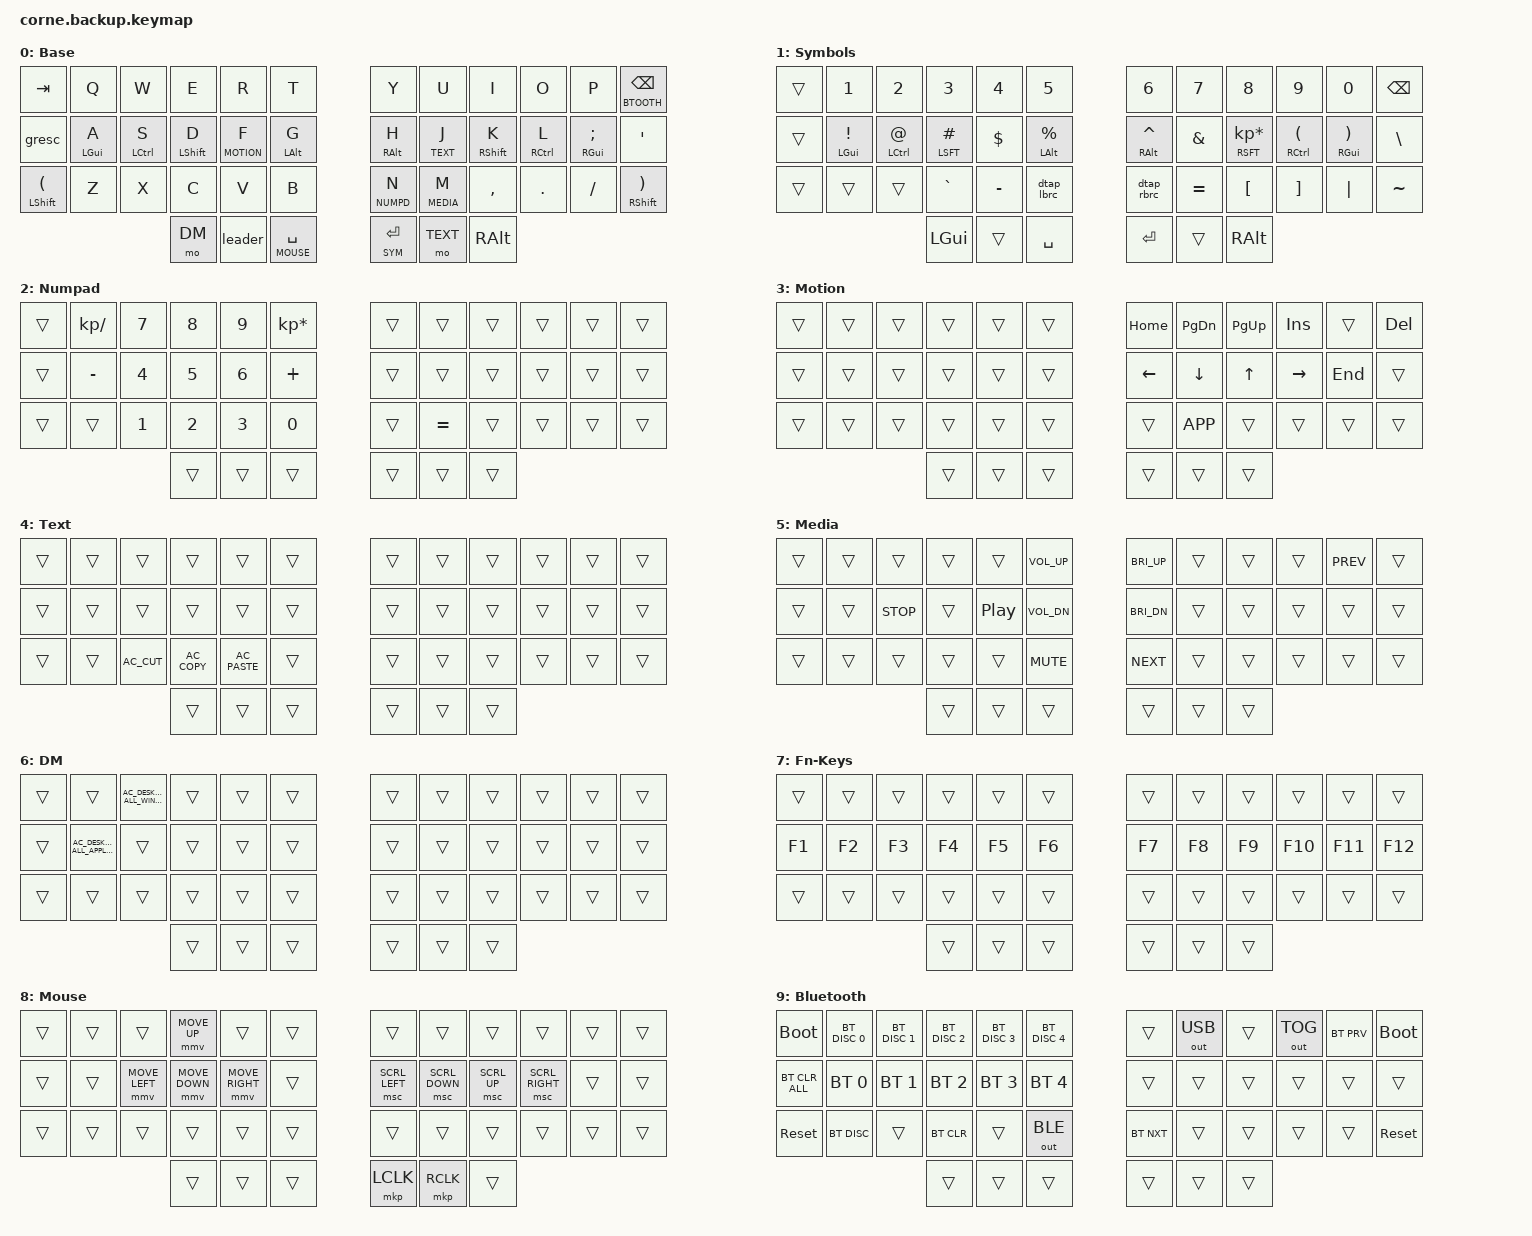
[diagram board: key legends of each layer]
/*
 * Copyright (c) 2020 The ZMK Contributors
 *
 * SPDX-License-Identifier: MIT
 */

#include <behaviors.dtsi>
#include <dt-bindings/zmk/bt.h>
#include <dt-bindings/zmk/keys.h>
#include <dt-bindings/zmk/pointing.h>
#include <dt-bindings/zmk/outputs.h>
#include <dt-bindings/zmk/ext_power.h>


// Layers
#define BASE 0
#define SYM 1
#define NUMPD 2 
#define MOTION 3
#define TEXT 4
#define MEDIA 5
#define DM 6
#define FKEYS 7
#define MOUSE 8
#define BTOOTH 9

&caps_word {
    /* mods = <(MOD_LSFT | MOD_RSFT)>; */
    /delete-property/ ignore-modifiers;
    continue-list = <UNDERSCORE MINUS DELETE BACKSPACE>;
};
&lt {
    flavor = "balanced";
    /* flavor = "tap-preferred"; */
    tapping-term-ms = <230>;
    quick-tap-ms = <25>;
    /* hold-trigger-on-release; */
};
&mt {
    flavor = "balanced";
    tapping-term-ms = <230>;
    quick-tap-ms = <25>;
    /* hold-trigger-on-release; */
};


/ {
    combos {
        compatible = "zmk,combos";
        combo_cw {
            timeout-ms = <65>;
            key-positions = <9 30>;
            bindings = <&caps_word>;
        };
    };
    behaviors {
      /* mt_cw: mt_caps_word { */
      /*   compatible = "zmk,behavior-hold-tap"; */
      /*   #binding-cells = <2>; */
      /*   bindings = <&kp>, <&kp>; */
      /*   flavor = "tap-preferred"; */
      /*   taping_term_ms = <230>; */
      /*   quick_tap_ms = <25>; */
      /* }; */

      leader: leader {
        compatible = "zmk,behavior-leader-key";
        #binding-cells = <0>;
        /* usb { sequence = <U S B>; bindings = <&out OUT_USB>; }; */
        /* ble { sequence = <B L E>; bindings = <&out OUT_BLE>; }; */
        base_layer { sequence = <L B B>; bindings = <&to BASE>; };
        fn_layer { sequence = <L F>; bindings = <&mo FKEYS>; };
        bluetooth_layer { sequence = <L B T>; bindings = <&mo BTOOTH>; };

      };
      ret2base: ret2base {
        compatible = "zmk,behavior-tap-dance";
        #binding-cells = <0>;
        tapping-term-ms = <250>;
        bindings = <&leader>, <&to BASE>;
        label = "Return to Base Layer";
      };
      dtap_lbrc: dtap_lbrace {
        compatible = "zmk,behavior-tap-dance";
        #binding-cells = <0>;
        tapping-term-ms = <200>;
        bindings = <&kp LBRC>, <&kp LBKT>;
        label = "Tap Dance Left Brace";
      };
      dtap_rbrc: dtap_rbrace {
        compatible = "zmk,behavior-tap-dance";
        #binding-cells = <0>;
        tapping-term-ms = <200>;
        bindings = <&kp RBRC>, <&kp RBKT>;
        label = "Tap Dance Right Brace";
      };


    };
    keymap {
        compatible = "zmk,keymap";

       default_layer {
            // -----------------------------------------------------------------------------------------
            // |  TAB |  Q  |  W  |  E  |  R  |  T  |   |  Y  |  U   |  I  |  O  |  P  | BKSP |
            // | CTRL |  A  |  S  |  D  |  F  |  G  |   |  H  |  J   |  K  |  L  |  ;  |  '   |
            // | SHFT |  Z  |  X  |  C  |  V  |  B  |   |  N  |  M   |  ,  |  .  |  /  | ESC  |
            //                    | GUI | LWR | SPC |   | ENT | RSE  | ALT |

            display-name = "Base";
            bindings = <
&kp TAB    &kp Q       &kp W        &kp E          &kp R          &kp T            /*|*/    &kp Y         &kp U         &kp I        &kp O          &kp P          &lt BTOOTH BSPC
&gresc     &mt LGUI A  &mt LCTRL S  &mt LSHIFT D   &lt MOTION F   &mt LALT G       /*|*/    &mt RALT H    &lt TEXT J &mt RSHIFT K  &mt RCTRL L    &mt RGUI SEMI  &kp SQT
&mt LSHFT LPAR &kp Z   &kp X        &kp C          &kp V          &kp B            /*|*/    &lt NUMPD N    &lt MEDIA M &kp COMMA     &kp DOT      &kp FSLH       &mt RSHFT RPAR
                                    &mo DM         &leader        &lt MOUSE SPACE  /*|*/    &lt SYM RET    &mo TEXT &kp RALT
            >;
        };

                symbols_layer {
            // -----------------------------------------------------------------------------------------
            // |  TAB |  !  |  @  |  #  |  $  |  %  |   |  ^  |  &  |  *  |  (  |  )  | BKSP |
            // | CTRL |     |     |     |     |     |   |  -  |  =  |  [  |  ]  |  \  |  `   |
            // | SHFT |     |     |     |     |     |   |  _  |  +  |  {  |  }  | "|" |  ~   |
            //                    | GUI |     | SPC |   | ENT |     | ALT |

            display-name = "Symbols";
            bindings = <
&trans      &kp N1      &kp N2      &kp N3      &kp N4      &kp N5      /*|*/     &kp N6      &kp N7      &kp N8           &kp N9       &kp N0       &kp BSPC
&trans      &mt LGUI EXCL    &mt LCTRL AT      &mt LSFT HASH    &kp DLLR    &mt LALT PRCNT   /*|*/      &mt RALT CARET   &kp AMPS    &mt RSFT KP_MULTIPLY  &mt RCTL LPAR    &mt RGUI RPAR    &kp BSLH
&trans      &trans      &trans      &kp GRAVE  &kp MINUS   &dtap_lbrc  /*|*/     &dtap_rbrc  &kp EQUAL   &kp LBKT         &kp RBKT    &kp PIPE    &kp TILDE
                                    &kp LGUI    &trans      &kp SPACE   /*|*/     &kp RET     &trans      &kp RALT
            >;
        };

        numpad_layer {
            display-name = "Numpad";
            bindings = <
&trans  &kp KP_DIVIDE &kp N7  &kp N8  &kp N9  &kp KP_MULTIPLY /*|*/   &trans  &trans     &trans  &trans  &trans  &trans
&trans  &kp MINUS     &kp N4  &kp N5  &kp N6  &kp PLUS        /*|*/   &trans  &trans     &trans  &trans  &trans  &trans
&trans  &trans        &kp N1  &kp N2  &kp N3  &kp N0          /*|*/   &trans  &kp EQUAL  &trans  &trans  &trans  &trans
                              &trans  &trans  &trans          /*|*/   &trans  &trans     &trans
            >;
        };
            motion_layer {
            display-name = "Motion";
            bindings = <
&trans  &trans  &trans  &trans  &trans  &trans /*|*/   &kp HOME  &kp PG_DN  &kp PG_UP  &kp INS    &trans   &kp DEL
&trans  &trans  &trans  &trans  &trans  &trans /*|*/   &kp LEFT  &kp DOWN   &kp UP     &kp RIGHT  &kp END  &trans
&trans  &trans  &trans  &trans  &trans  &trans /*|*/   &trans    &kp K_APP  &trans     &trans     &trans   &trans
                        &trans  &trans  &trans /*|*/   &trans    &trans     &trans
            >;
        };
                   text_edit_layer {
            display-name = "Text";
            bindings = <
&trans  &trans  &trans  &trans  &trans  &trans /*|*/   &trans  &trans  &trans  &trans  &trans  &trans
&trans  &trans  &trans  &trans  &trans  &trans /*|*/   &trans  &trans  &trans  &trans  &trans  &trans
&trans  &trans  &kp C_AC_CUT  &kp C_AC_COPY  &kp C_AC_PASTE  &trans /*|*/  &trans  &trans  &trans  &trans  &trans  &trans
                        &trans  &trans  &trans /*|*/   &trans  &trans  &trans
            >;
        };
   media_layer {
            display-name = "Media";
            bindings = <
&trans  &trans  &trans  &trans  &trans  &kp C_VOL_UP /*|*/   &kp C_BRI_UP  &trans  &trans  &trans  &kp C_PREV  &trans
&trans  &trans  &kp C_STOP  &trans  &kp C_PP  &kp C_VOL_DN /*|*/   &kp C_BRI_DN  &trans  &trans  &trans  &trans  &trans
&trans  &trans  &trans  &trans  &trans  &kp C_MUTE /*|*/  &kp C_NEXT  &trans  &trans  &trans  &trans  &trans
                        &trans  &trans  &trans /*|*/   &trans  &trans  &trans
            >;
        };
desktop_manager_layer {
            display-name = "DM";
            bindings = <
&trans  &trans/*close/exit*/  &kp C_AC_DESKTOP_SHOW_ALL_WINDOWS  &trans  &trans  &trans /*|*/   &trans  &trans  &trans  &trans  &trans  &trans
&trans  &kp C_AC_DESKTOP_SHOW_ALL_APPLICATIONS  &trans  &trans  &trans/*fullscreen*/  &trans /*|*/   &trans  &trans  &trans  &trans  &trans  &trans
&trans  &trans  &trans  &trans  &trans  &trans /*|*/   &trans  &trans  &trans  &trans  &trans  &trans
                        &trans  &trans  &trans /*|*/   &trans  &trans  &trans
            >;
        };

   fkeys_layer {
            display-name = "Fn-Keys";
            bindings = <
&trans  &trans  &trans  &trans  &trans  &trans /*|*/   &trans  &trans  &trans  &trans  &trans  &trans
&kp F1  &kp F2  &kp F3  &kp F4  &kp F5  &kp F6 /*|*/   &kp F7  &kp F8  &kp F9  &kp F10  &kp F11  &kp F12
&trans  &trans  &trans  &trans  &trans  &trans /*|*/  &trans  &trans  &trans  &trans  &trans  &trans
                        &trans  &trans  &trans /*|*/   &trans  &trans  &trans
            >;
        };
mouse_layer {
            display-name = "Mouse";
            bindings = <
&trans  &trans  &trans          &mmv MOVE_UP    &trans           &trans /*|*/  &trans  &trans  &trans  &trans  &trans  &trans
&trans  &trans  &mmv MOVE_LEFT  &mmv MOVE_DOWN  &mmv MOVE_RIGHT  &trans /*|*/  &msc SCRL_LEFT  &msc SCRL_DOWN  &msc SCRL_UP  &msc SCRL_RIGHT  &trans  &trans
&trans  &trans  &trans          &trans          &trans           &trans /*|*/  &trans  &trans  &trans  &trans  &trans  &trans
                                &trans          &trans           &trans /*|*/  &mkp LCLK  &mkp RCLK  &trans
            >;
        };

bluetooth_layer {
            // -----------------------------------------------------------------------------------------
            // |  TAB |  1  |  2  |  3  |  4  |  5  |   |  6  |  7  |  8  |  9  |  0  | BKSP |
            // | BTCLR| BT1 | BT2 | BT3 | BT4 | BT5 |   | LFT | DWN |  UP | RGT |     |      |
            // | SHFT |     |     |     |     |     |   |     |     |     |     |     |      |
            //                    | GUI |     | SPC |   | ENT |     | ALT |

            display-name = "Bluetooth";
            bindings = <
&bootloader     &bt BT_DISC 0  &bt BT_DISC 1  &bt BT_DISC 2  &bt BT_DISC 3  &bt BT_DISC 4 /*|*/   &trans        &out OUT_USB  &trans  &out OUT_TOG  &bt BT_PRV  &bootloader
&bt BT_CLR_ALL  &bt BT_SEL 0   &bt BT_SEL 1   &bt BT_SEL 2   &bt BT_SEL 3   &bt BT_SEL 4  /*|*/   &trans        &trans       &trans  &trans       &trans      &trans
&sys_reset      &bt BT_DISC    &trans         &bt BT_CLR     &trans         &out OUT_BLE  /*|*/   &bt BT_NXT    &trans       &trans  &trans       &trans      &sys_reset
                                              &trans         &trans         &trans        /*|*/   &trans        &trans       &trans
        >;
        };


    };

};
/*
TEMPLATE layer
&trans  &trans  &trans  &trans  &trans  &trans    &trans  &trans  &trans  &trans  &trans  &trans
&trans  &trans  &trans  &trans  &trans  &trans    &trans  &trans  &trans  &trans  &trans  &trans
&trans  &trans  &trans  &trans  &trans  &trans    &trans  &trans  &trans  &trans  &trans  &trans
                        &trans  &trans  &trans    &trans  &trans  &trans
*/ 
